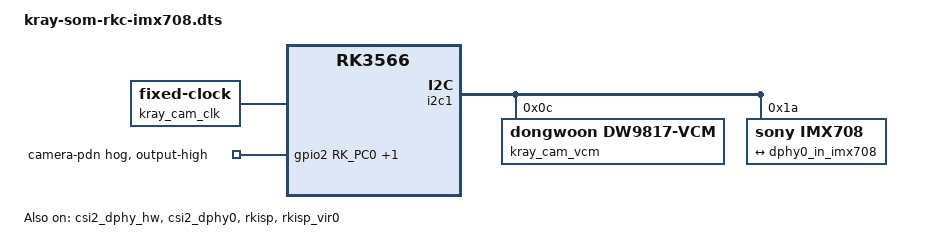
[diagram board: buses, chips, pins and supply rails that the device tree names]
// SPDX-License-Identifier: (GPL-2.0+ OR MIT)
/*
 * Kray-SoM-RKC: Raspberry Pi Camera Module 3 (Sony IMX708, 12 MP; also the
 * Wide and NoIR versions) on the CSI connector. Vendor kernel only.
 *
 *   /boot/armbianEnv.txt:  overlays=kray-som-rkc-imx708
 *
 * Sensor on I2C1 at 0x1a, two MIPI CSI-2 lanes at 450 MHz through
 * csi2_dphy0 into rkisp (rkisp_vir0). The module has its own 24 MHz
 * oscillator. Camera power-down (GPIO2_C0) and reset (GPIO2_C1) are held
 * high, as for the other camera overlays. The lens focus motor (DW9817 at
 * 0x0c, Raspberry Pi's dw9807-vcm driver, built in as rpi_dw9807_vcm) is a
 * separate lens sub-device: set the focus by hand with its
 * focus_absolute control (no autofocus without 3A).
 */

/dts-v1/;
/plugin/;

#include <dt-bindings/gpio/gpio.h>
#include <dt-bindings/pinctrl/rockchip.h>

/ {
	compatible = "kray,som-rkc", "rockchip,rk3566";

	fragment@0 {
		target-path = "/";
		__overlay__ {
			kray_cam_clk: kray-camera-clock {
				compatible = "fixed-clock";
				#clock-cells = <0>;
				clock-frequency = <24000000>;
				clock-output-names = "kray_cam_clk";
			};
		};
	};

	fragment@1 {
		target = <&gpio2>;
		__overlay__ {
			kray-camera-enable-hog {
				gpio-hog;
				/* GPIO2_C0: power-down (PDN), GPIO2_C1: reset */
				gpios = <RK_PC0 GPIO_ACTIVE_HIGH>, <RK_PC1 GPIO_ACTIVE_HIGH>;
				output-high;
				line-name = "camera-pdn", "camera-reset";
			};
		};
	};

	fragment@2 {
		target = <&i2c1>;
		__overlay__ {
			status = "okay";
			#address-cells = <1>;
			#size-cells = <0>;

			kray_cam_vcm: dw9817@c {
				compatible = "dongwoon,dw9817-vcm";
				reg = <0x0c>;
			};

			imx708: imx708@1a {
				compatible = "sony,imx708";
				reg = <0x1a>;
				clocks = <&kray_cam_clk>;
				clock-names = "xclk";
				rockchip,camera-module-index = <0>;
				rockchip,camera-module-facing = "back";
				rockchip,camera-module-name = "rpi-camera-v3";
				rockchip,camera-module-lens-name = "default";
				lens-focus = <&kray_cam_vcm>;

				port {
					imx708_out: endpoint {
						remote-endpoint = <&dphy0_in_imx708>;
						data-lanes = <1 2>;
						link-frequencies = /bits/ 64 <450000000>;
					};
				};
			};
		};
	};

	fragment@3 {
		target = <&csi2_dphy_hw>;
		__overlay__ {
			status = "okay";
		};
	};

	fragment@4 {
		target = <&csi2_dphy0>;
		__overlay__ {
			status = "okay";

			ports {
				#address-cells = <1>;
				#size-cells = <0>;

				port@0 {
					reg = <0>;
					#address-cells = <1>;
					#size-cells = <0>;

					dphy0_in_imx708: endpoint@1 {
						reg = <1>;
						remote-endpoint = <&imx708_out>;
						data-lanes = <1 2>;
					};
				};

				port@1 {
					reg = <1>;
					#address-cells = <1>;
					#size-cells = <0>;

					dphy0_out: endpoint@1 {
						reg = <1>;
						remote-endpoint = <&isp0_in>;
					};
				};
			};
		};
	};

	fragment@5 {
		target = <&rkisp>;
		__overlay__ {
			status = "okay";
		};
	};

	fragment@6 {
		target = <&rkisp_mmu>;
		__overlay__ {
			status = "okay";
		};
	};

	fragment@7 {
		target = <&rkisp_vir0>;
		__overlay__ {
			status = "okay";

			port {
				#address-cells = <1>;
				#size-cells = <0>;

				isp0_in: endpoint@0 {
					reg = <0>;
					remote-endpoint = <&dphy0_out>;
				};
			};
		};
	};
};
